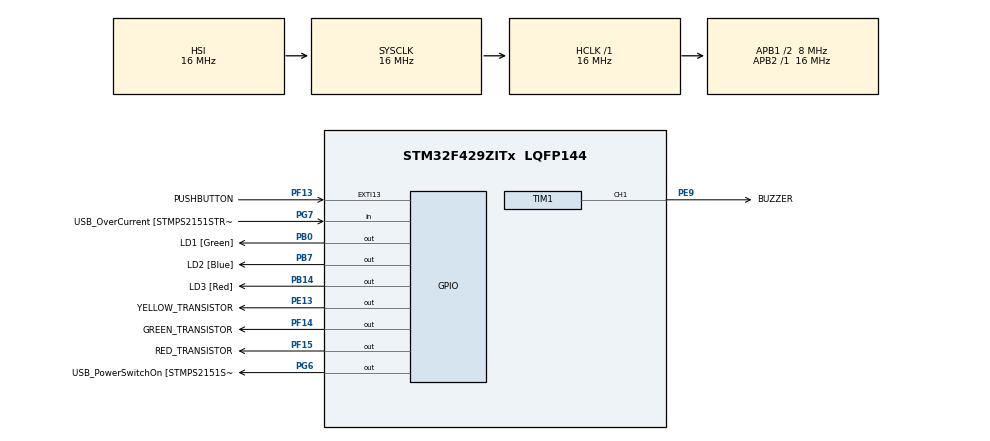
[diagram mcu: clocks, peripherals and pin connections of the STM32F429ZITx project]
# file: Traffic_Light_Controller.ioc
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Mcu.Family=STM32F4
Mcu.Name=STM32F429ZITx
Mcu.Package=LQFP144
NVIC.EXTI15_10_IRQn=true\:2\:0\:true\:false\:true\:true\:true\:true
NVIC.PriorityGroup=NVIC_PRIORITYGROUP_4
PA1.GPIO_Label=RMII_REF_CLK [LAN8742A-CZ-TR_REFCLK0]
PA1.Signal=ETH_REF_CLK
PA10.GPIO_Label=USB_ID
PA10.Signal=USB_OTG_FS_ID
PA11.GPIO_Label=USB_DM
PA11.Signal=USB_OTG_FS_DM
PA12.GPIO_Label=USB_DP
PA12.Signal=USB_OTG_FS_DP
PA13.GPIO_Label=TMS
PA13.Signal=SYS_JTMS-SWDIO
PA14.GPIO_Label=TCK
PA14.Signal=SYS_JTCK-SWCLK
PA2.GPIO_Label=RMII_MDIO [LAN8742A-CZ-TR_MDIO]
PA2.Signal=ETH_MDIO
PA7.GPIO_Label=RMII_CRS_DV [LAN8742A-CZ-TR_CRS_DV]
PA7.Signal=ETH_CRS_DV
PA8.GPIO_Label=USB_SOF [TP1]
PA8.Signal=USB_OTG_FS_SOF
PA9.GPIO_Label=USB_VBUS
PA9.Signal=USB_OTG_FS_VBUS
PB0.GPIO_Label=LD1 [Green]
PB0.Signal=GPIO_Output
PB13.GPIO_Label=RMII_TXD1 [LAN8742A-CZ-TR_TXD1]
PB13.Signal=ETH_TXD1
PB14.GPIO_Label=LD3 [Red]
PB14.Signal=GPIO_Output
PB7.GPIO_Label=LD2 [Blue]
PB7.Signal=GPIO_Output
PC1.GPIO_Label=RMII_MDC [LAN8742A-CZ-TR_MDC]
PC1.Signal=ETH_MDC
PC14/OSC32_IN.Signal=RCC_OSC32_IN
PC15/OSC32_OUT.Signal=RCC_OSC32_OUT
PC4.GPIO_Label=RMII_RXD0 [LAN8742A-CZ-TR_RXD0]
PC4.Signal=ETH_RXD0
PC5.GPIO_Label=RMII_RXD1 [LAN8742A-CZ-TR_RXD1]
PC5.Signal=ETH_RXD1
PD8.GPIO_Label=STLK_RX [STM32F103CBT6_PA3]
PD8.Signal=USART3_TX
PD9.GPIO_Label=STLK_TX [STM32F103CBT6_PA2]
PD9.Signal=USART3_RX
PE13.GPIO_Label=YELLOW_TRANSISTOR
PE13.Signal=GPIO_Output
PE9.GPIO_Label=BUZZER
PE9.Signal=S_TIM1_CH1
PF13.GPIO_Label=PUSHBUTTON
PF13.GPIO_ModeDefaultEXTI=GPIO_MODE_IT_RISING_FALLING
PF13.GPIO_PuPd=GPIO_PULLUP
PF13.Signal=GPXTI13
PF14.GPIO_Label=GREEN_TRANSISTOR
PF14.Signal=GPIO_Output
PF15.GPIO_Label=RED_TRANSISTOR
PF15.Signal=GPIO_Output
PG11.GPIO_Label=RMII_TX_EN [LAN8742A-CZ-TR_TXEN]
PG11.Signal=ETH_TX_EN
PG13.GPIO_Label=RMII_TXD0 [LAN8742A-CZ-TR_TXD0]
PG13.Signal=ETH_TXD0
PG6.GPIO_Label=USB_PowerSwitchOn [STMPS2151STR_EN]
PG6.Signal=GPIO_Output
PG7.GPIO_Label=USB_OverCurrent [STMPS2151STR_FAULT]
PG7.Signal=GPIO_Input
PH0/OSC_IN.GPIO_Label=MCO [STM32F103CBT6_PA8]
PH0/OSC_IN.Signal=RCC_OSC_IN
PH1/OSC_OUT.Signal=RCC_OSC_OUT
ProjectManager.HeapSize=0x200
ProjectManager.StackSize=0x400
ProjectManager.TargetToolchain=STM32CubeIDE
RCC.48MHZClocksFreq_Value=48000000
RCC.AHBFreq_Value=16000000
RCC.APB1CLKDivider=RCC_HCLK_DIV2
RCC.APB1Freq_Value=8000000
RCC.APB1TimFreq_Value=16000000
RCC.APB2Freq_Value=16000000
RCC.APB2TimFreq_Value=16000000
RCC.CortexFreq_Value=16000000
RCC.HCLKFreq_Value=16000000
RCC.HSE_VALUE=8000000
RCC.HSI_VALUE=16000000
RCC.LSE_VALUE=32768
RCC.PLLMUL=RCC_PLL_MUL9
RCC.PRESCALERUSB=RCC_USBCLKSOURCE_PLL_DIV1_5
RCC.SYSCLKFreq_VALUE=16000000
RCC.SYSCLKSourceVirtual=RCC_SYSCLKSOURCE_PLLCLK
RCC.USBFreq_Value=48000000
RCC.VCOOutputFreq_Value=192000000
SH.S_TIM1_CH1.0=TIM1_CH1,PWM Generation1 CH1
TIM1.Channel-PWM\ Generation1\ CH1=TIM_CHANNEL_1
board=NUCLEO-F429ZI

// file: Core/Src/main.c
/* USER CODE BEGIN Header */
/***********************************************************************
 * @file			main.c
 * @brief	 		Embedded Non-Blocking Sequential Light Controller (FSM)
 * @date 			September 2026
 * @author			Crystalizzed
 *
 * @details			Event-driven Finite State Machine (FSM) driving a 3-light
 * 					sequential light loop and dynamic pitch-shifting passive buzzer.
 *
 * @note			Target Hardware: NUCLEO-F429ZI (ARM Cortex-M4 @ 180MHz)
 *
 * @note			Hardware Pinout Configuration (External Breadboard Prototype):
 * 					- PF13 (D7): pushbutton input (EXTI, hardware debounced, internal pull-up)
 * 					- PF15 (D2): red LED transistor (push-pull, active high)
 * 					- PE13 (D3): yellow LED transistor (push-pull, active high)
 * 					- PF14 (D4): green LED transistor (push-pull, active high)
 * 					- PE9  (D6): passive buzzer (TIM1_CH1 PWM alternate function)
 *
 ***********************************************************************
 * @attention
 *
 * Copyright (c) 2026 STMicroelectronics.
 * All rights reserved.
 *
 * This software is licensed under terms that can be found in the LICENSE file
 * in the root directory of this software component.
 * If no LICENSE file comes with this software, it is provided AS-IS.
 *
 ***********************************************************************/
/* USER CODE END Header */
#include "main.h"

TIM_HandleTypeDef htim1;

/* USER CODE BEGIN PV */
// states of light cycle
typedef enum{
	STATE_IDLE,
	STATE_RED,
	STATE_YELLOW,
	STATE_GREEN,
} LightState;

volatile LightState currentState = STATE_IDLE; // tracker for state of the loop
volatile uint32_t stateStartTime=0, buzzerStartTime=0; // time keeping for state and buzzer timing
volatile uint8_t buzzerActive=0; // true/false for if buzzer is active
/* USER CODE END PV */

void SystemClock_Config(void);
static void MX_GPIO_Init(void);
static void MX_TIM1_Init(void);
/* USER CODE BEGIN PFP */
void BuzzerActivation(LightState currentState);
/* USER CODE END PFP */

int main(void)
{

  /* MCU Configuration--------------------------------------------------------*/

  /* Reset of all peripherals, Initializes the Flash interface and the Systick. */
  HAL_Init();

  /* Configure the system clock */
  SystemClock_Config();

  /* Initialize all configured peripherals */
  MX_GPIO_Init();
  MX_TIM1_Init();

  /* Infinite loop */
  /* USER CODE BEGIN WHILE */
  while (1){

	  // loop for changing light states
	if(currentState>STATE_IDLE){
		switch(currentState){
			case STATE_RED:
				// turn on red LED
				HAL_GPIO_WritePin(RED_TRANSISTOR_GPIO_Port, RED_TRANSISTOR_Pin, GPIO_PIN_SET);

				// check if 3 seconds have elapsed, if so update state and turn off red LED
				if(HAL_GetTick() - stateStartTime >= 3000){
					HAL_GPIO_WritePin(RED_TRANSISTOR_GPIO_Port, RED_TRANSISTOR_Pin, GPIO_PIN_RESET);
					currentState = STATE_YELLOW;
					stateStartTime = HAL_GetTick();
					BuzzerActivation(currentState); // call buzzer activation subroutine
				}
				break;

			case STATE_YELLOW:
				// turn on yellow LED
				HAL_GPIO_WritePin(YELLOW_TRANSISTOR_GPIO_Port, YELLOW_TRANSISTOR_Pin, GPIO_PIN_SET);

				// check if 3 seconds have elapsed, if so update state and turn off yellow LED
				if(HAL_GetTick() - stateStartTime >= 3000){
					HAL_GPIO_WritePin(YELLOW_TRANSISTOR_GPIO_Port, YELLOW_TRANSISTOR_Pin, GPIO_PIN_RESET);
					currentState = STATE_GREEN;
					stateStartTime = HAL_GetTick();
					BuzzerActivation(currentState); // call buzzer activation subroutine
				}
				break;

			case STATE_GREEN:
				// activate green LED and hold indefinitely, until pushbutton is ever released
				HAL_GPIO_WritePin(GREEN_TRANSISTOR_GPIO_Port, GREEN_TRANSISTOR_Pin, GPIO_PIN_SET);
				break;

			case STATE_IDLE: // unreachable at runtime
				break;

		} // switch(currentState)

		// restrict buzzer length to 1 second
		if(buzzerActive==1){
			// check if 1 second has elapsed, and if so turn off buzzer and update state
			if(HAL_GetTick() - buzzerStartTime >= 1000){
				HAL_TIM_PWM_Stop(&htim1, TIM_CHANNEL_1);
				buzzerActive = 0;
			}
		} // if(buzzerActive)
	} // if(currentState>STATE_IDLE)

    /* USER CODE END WHILE */

  }
}

void SystemClock_Config(void)
{
  RCC_OscInitTypeDef RCC_OscInitStruct = {0};
  RCC_ClkInitTypeDef RCC_ClkInitStruct = {0};

  /** Configure the main internal regulator output voltage
  */
  __HAL_RCC_PWR_CLK_ENABLE();
  __HAL_PWR_VOLTAGESCALING_CONFIG(PWR_REGULATOR_VOLTAGE_SCALE3);

  /** Initializes the RCC Oscillators according to the specified parameters
  * in the RCC_OscInitTypeDef structure.
  */
  RCC_OscInitStruct.OscillatorType = RCC_OSCILLATORTYPE_HSI;
  RCC_OscInitStruct.HSIState = RCC_HSI_ON;
  RCC_OscInitStruct.HSICalibrationValue = RCC_HSICALIBRATION_DEFAULT;
  RCC_OscInitStruct.PLL.PLLState = RCC_PLL_NONE;
  if (HAL_RCC_OscConfig(&RCC_OscInitStruct) != HAL_OK)
  {
    Error_Handler();
  }

  /** Initializes the CPU, AHB and APB buses clocks
  */
  RCC_ClkInitStruct.ClockType = RCC_CLOCKTYPE_HCLK|RCC_CLOCKTYPE_SYSCLK
                              |RCC_CLOCKTYPE_PCLK1|RCC_CLOCKTYPE_PCLK2;
  RCC_ClkInitStruct.SYSCLKSource = RCC_SYSCLKSOURCE_HSI;
  RCC_ClkInitStruct.AHBCLKDivider = RCC_SYSCLK_DIV1;
  RCC_ClkInitStruct.APB1CLKDivider = RCC_HCLK_DIV2;
  RCC_ClkInitStruct.APB2CLKDivider = RCC_HCLK_DIV1;

  if (HAL_RCC_ClockConfig(&RCC_ClkInitStruct, FLASH_LATENCY_0) != HAL_OK)
  {
    Error_Handler();
  }
}

static void MX_TIM1_Init(void)
{

  TIM_MasterConfigTypeDef sMasterConfig = {0};
  TIM_OC_InitTypeDef sConfigOC = {0};
  TIM_BreakDeadTimeConfigTypeDef sBreakDeadTimeConfig = {0};

  htim1.Instance = TIM1;
  htim1.Init.Prescaler = 0;
  htim1.Init.CounterMode = TIM_COUNTERMODE_UP;
  htim1.Init.Period = 65535;
  htim1.Init.ClockDivision = TIM_CLOCKDIVISION_DIV1;
  htim1.Init.RepetitionCounter = 0;
  htim1.Init.AutoReloadPreload = TIM_AUTORELOAD_PRELOAD_DISABLE;
  if (HAL_TIM_PWM_Init(&htim1) != HAL_OK)
  {
    Error_Handler();
  }
  sMasterConfig.MasterOutputTrigger = TIM_TRGO_RESET;
  sMasterConfig.MasterSlaveMode = TIM_MASTERSLAVEMODE_DISABLE;
  if (HAL_TIMEx_MasterConfigSynchronization(&htim1, &sMasterConfig) != HAL_OK)
  {
    Error_Handler();
  }
  sConfigOC.OCMode = TIM_OCMODE_PWM1;
  sConfigOC.Pulse = 0;
  sConfigOC.OCPolarity = TIM_OCPOLARITY_HIGH;
  sConfigOC.OCNPolarity = TIM_OCNPOLARITY_HIGH;
  sConfigOC.OCFastMode = TIM_OCFAST_DISABLE;
  sConfigOC.OCIdleState = TIM_OCIDLESTATE_RESET;
  sConfigOC.OCNIdleState = TIM_OCNIDLESTATE_RESET;
  if (HAL_TIM_PWM_ConfigChannel(&htim1, &sConfigOC, TIM_CHANNEL_1) != HAL_OK)
  {
    Error_Handler();
  }
  sBreakDeadTimeConfig.OffStateRunMode = TIM_OSSR_DISABLE;
  sBreakDeadTimeConfig.OffStateIDLEMode = TIM_OSSI_DISABLE;
  sBreakDeadTimeConfig.LockLevel = TIM_LOCKLEVEL_OFF;
  sBreakDeadTimeConfig.DeadTime = 0;
  sBreakDeadTimeConfig.BreakState = TIM_BREAK_DISABLE;
  sBreakDeadTimeConfig.BreakPolarity = TIM_BREAKPOLARITY_HIGH;
  sBreakDeadTimeConfig.AutomaticOutput = TIM_AUTOMATICOUTPUT_DISABLE;
  if (HAL_TIMEx_ConfigBreakDeadTime(&htim1, &sBreakDeadTimeConfig) != HAL_OK)
  {
    Error_Handler();
  }
  HAL_TIM_MspPostInit(&htim1);

}

static void MX_GPIO_Init(void)
{
  GPIO_InitTypeDef GPIO_InitStruct = {0};

  /* GPIO Ports Clock Enable */
  __HAL_RCC_GPIOC_CLK_ENABLE();
  __HAL_RCC_GPIOH_CLK_ENABLE();
  __HAL_RCC_GPIOA_CLK_ENABLE();
  __HAL_RCC_GPIOB_CLK_ENABLE();
  __HAL_RCC_GPIOF_CLK_ENABLE();
  __HAL_RCC_GPIOE_CLK_ENABLE();
  __HAL_RCC_GPIOD_CLK_ENABLE();
  __HAL_RCC_GPIOG_CLK_ENABLE();

  /*Configure GPIO pin Output Level */
  HAL_GPIO_WritePin(GPIOB, LD1_Pin|LD3_Pin|LD2_Pin, GPIO_PIN_RESET);

  /*Configure GPIO pin Output Level */
  HAL_GPIO_WritePin(GPIOF, GREEN_TRANSISTOR_Pin|RED_TRANSISTOR_Pin, GPIO_PIN_RESET);

  /*Configure GPIO pin Output Level */
  HAL_GPIO_WritePin(YELLOW_TRANSISTOR_GPIO_Port, YELLOW_TRANSISTOR_Pin, GPIO_PIN_RESET);

  /*Configure GPIO pin Output Level */
  HAL_GPIO_WritePin(USB_PowerSwitchOn_GPIO_Port, USB_PowerSwitchOn_Pin, GPIO_PIN_RESET);

  /*Configure GPIO pins : RMII_MDC_Pin RMII_RXD0_Pin RMII_RXD1_Pin */
  GPIO_InitStruct.Pin = RMII_MDC_Pin|RMII_RXD0_Pin|RMII_RXD1_Pin;
  GPIO_InitStruct.Mode = GPIO_MODE_AF_PP;
  GPIO_InitStruct.Pull = GPIO_NOPULL;
  GPIO_InitStruct.Speed = GPIO_SPEED_FREQ_VERY_HIGH;
  GPIO_InitStruct.Alternate = GPIO_AF11_ETH;
  HAL_GPIO_Init(GPIOC, &GPIO_InitStruct);

  /*Configure GPIO pins : RMII_REF_CLK_Pin RMII_MDIO_Pin RMII_CRS_DV_Pin */
  GPIO_InitStruct.Pin = RMII_REF_CLK_Pin|RMII_MDIO_Pin|RMII_CRS_DV_Pin;
  GPIO_InitStruct.Mode = GPIO_MODE_AF_PP;
  GPIO_InitStruct.Pull = GPIO_NOPULL;
  GPIO_InitStruct.Speed = GPIO_SPEED_FREQ_VERY_HIGH;
  GPIO_InitStruct.Alternate = GPIO_AF11_ETH;
  HAL_GPIO_Init(GPIOA, &GPIO_InitStruct);

  /*Configure GPIO pins : LD1_Pin LD3_Pin LD2_Pin */
  GPIO_InitStruct.Pin = LD1_Pin|LD3_Pin|LD2_Pin;
  GPIO_InitStruct.Mode = GPIO_MODE_OUTPUT_PP;
  GPIO_InitStruct.Pull = GPIO_NOPULL;
  GPIO_InitStruct.Speed = GPIO_SPEED_FREQ_LOW;
  HAL_GPIO_Init(GPIOB, &GPIO_InitStruct);

  /*Configure GPIO pin : PUSHBUTTON_Pin */
  GPIO_InitStruct.Pin = PUSHBUTTON_Pin;
  GPIO_InitStruct.Mode = GPIO_MODE_IT_RISING_FALLING;
  GPIO_InitStruct.Pull = GPIO_PULLUP;
  HAL_GPIO_Init(PUSHBUTTON_GPIO_Port, &GPIO_InitStruct);

  /*Configure GPIO pins : GREEN_TRANSISTOR_Pin RED_TRANSISTOR_Pin */
  GPIO_InitStruct.Pin = GREEN_TRANSISTOR_Pin|RED_TRANSISTOR_Pin;
  GPIO_InitStruct.Mode = GPIO_MODE_OUTPUT_PP;
  GPIO_InitStruct.Pull = GPIO_NOPULL;
  GPIO_InitStruct.Speed = GPIO_SPEED_FREQ_LOW;
  HAL_GPIO_Init(GPIOF, &GPIO_InitStruct);

  /*Configure GPIO pin : YELLOW_TRANSISTOR_Pin */
  GPIO_InitStruct.Pin = YELLOW_TRANSISTOR_Pin;
  GPIO_InitStruct.Mode = GPIO_MODE_OUTPUT_PP;
  GPIO_InitStruct.Pull = GPIO_NOPULL;
  GPIO_InitStruct.Speed = GPIO_SPEED_FREQ_LOW;
  HAL_GPIO_Init(YELLOW_TRANSISTOR_GPIO_Port, &GPIO_InitStruct);

  /*Configure GPIO pin : RMII_TXD1_Pin */
  GPIO_InitStruct.Pin = RMII_TXD1_Pin;
  GPIO_InitStruct.Mode = GPIO_MODE_AF_PP;
  GPIO_InitStruct.Pull = GPIO_NOPULL;
  GPIO_InitStruct.Speed = GPIO_SPEED_FREQ_VERY_HIGH;
  GPIO_InitStruct.Alternate = GPIO_AF11_ETH;
  HAL_GPIO_Init(RMII_TXD1_GPIO_Port, &GPIO_InitStruct);

  /*Configure GPIO pins : STLK_RX_Pin STLK_TX_Pin */
  GPIO_InitStruct.Pin = STLK_RX_Pin|STLK_TX_Pin;
  GPIO_InitStruct.Mode = GPIO_MODE_AF_PP;
  GPIO_InitStruct.Pull = GPIO_NOPULL;
  GPIO_InitStruct.Speed = GPIO_SPEED_FREQ_VERY_HIGH;
  GPIO_InitStruct.Alternate = GPIO_AF7_USART3;
  HAL_GPIO_Init(GPIOD, &GPIO_InitStruct);

  /*Configure GPIO pin : USB_PowerSwitchOn_Pin */
  GPIO_InitStruct.Pin = USB_PowerSwitchOn_Pin;
  GPIO_InitStruct.Mode = GPIO_MODE_OUTPUT_PP;
  GPIO_InitStruct.Pull = GPIO_NOPULL;
  GPIO_InitStruct.Speed = GPIO_SPEED_FREQ_LOW;
  HAL_GPIO_Init(USB_PowerSwitchOn_GPIO_Port, &GPIO_InitStruct);

  /*Configure GPIO pin : USB_OverCurrent_Pin */
  GPIO_InitStruct.Pin = USB_OverCurrent_Pin;
  GPIO_InitStruct.Mode = GPIO_MODE_INPUT;
  GPIO_InitStruct.Pull = GPIO_NOPULL;
  HAL_GPIO_Init(USB_OverCurrent_GPIO_Port, &GPIO_InitStruct);

  /*Configure GPIO pins : USB_SOF_Pin USB_ID_Pin USB_DM_Pin USB_DP_Pin */
  GPIO_InitStruct.Pin = USB_SOF_Pin|USB_ID_Pin|USB_DM_Pin|USB_DP_Pin;
  GPIO_InitStruct.Mode = GPIO_MODE_AF_PP;
  GPIO_InitStruct.Pull = GPIO_NOPULL;
  GPIO_InitStruct.Speed = GPIO_SPEED_FREQ_VERY_HIGH;
  GPIO_InitStruct.Alternate = GPIO_AF10_OTG_FS;
  HAL_GPIO_Init(GPIOA, &GPIO_InitStruct);

  /*Configure GPIO pin : USB_VBUS_Pin */
  GPIO_InitStruct.Pin = USB_VBUS_Pin;
  GPIO_InitStruct.Mode = GPIO_MODE_INPUT;
  GPIO_InitStruct.Pull = GPIO_NOPULL;
  HAL_GPIO_Init(USB_VBUS_GPIO_Port, &GPIO_InitStruct);

  /*Configure GPIO pins : RMII_TX_EN_Pin RMII_TXD0_Pin */
  GPIO_InitStruct.Pin = RMII_TX_EN_Pin|RMII_TXD0_Pin;
  GPIO_InitStruct.Mode = GPIO_MODE_AF_PP;
  GPIO_InitStruct.Pull = GPIO_NOPULL;
  GPIO_InitStruct.Speed = GPIO_SPEED_FREQ_VERY_HIGH;
  GPIO_InitStruct.Alternate = GPIO_AF11_ETH;
  HAL_GPIO_Init(GPIOG, &GPIO_InitStruct);

  /* EXTI interrupt init*/
  HAL_NVIC_SetPriority(EXTI15_10_IRQn, 2, 0);
  HAL_NVIC_EnableIRQ(EXTI15_10_IRQn);

}

/* USER CODE BEGIN 4 */
/***********************************************************************
 * @brief		Configures PWM frequency and starts piezobuzzer output.
 *
 * @details		Calculates timer autoreload (ARR) value based on current
 * 				FSM light state, updates TIM1 Channel 1 ARR and CCR registers for
 * 				a 50% duty cycle, and activates PWM generation.
 *
 * @param[in]	currentState light state used to compute target pitch frequency.
 *
 * @retval		None
 *
 * @note		- Called from both HAL_GPIO_EXTI_Callback (ISR) and the main loop (state
 * 				  transition logic). Must remain non-blocking and interrupt-safe - no
 * 				  HAL_Delay() or heavy computation. Relies on main loop execution to
 * 				  evaluate buzzerStartTime against target duration.
 * 				- Hardware touched: TIM1 CH1 (PWM output, MOE enabled)
 * 				- Globals modified: buzzerStartTime (timestamp), buzzerActive (set to 1)
 ***********************************************************************/
void BuzzerActivation(LightState currentState){

	// calculate frequency pitch for buzzer depending on currentState
	// base period of 250 ticks + 250*state
	uint32_t buzzerFreq = (16000000/(250+(250*(uint32_t)currentState)))-1;
	__HAL_TIM_SET_AUTORELOAD(&htim1, buzzerFreq);

	// duty cycle config
	__HAL_TIM_SET_COMPARE(&htim1, TIM_CHANNEL_1, (buzzerFreq/2));

	// turn buzzer on
	HAL_TIM_PWM_Start(&htim1, TIM_CHANNEL_1);
	__HAL_TIM_MOE_ENABLE(&htim1);

	buzzerStartTime = HAL_GetTick();
	buzzerActive = 1;

}	// BuzzerActivation

/***********************************************************************
 * @brief		Interrupt based on state of external breadboard pushbutton state.
 *
 * @details		Evaluates pushbutton state transitions (press/release). If released,
 * 				resets all LED outputs, turns off the piezobuzzer, and forces the FSM
 * 				back to STATE_IDLE. If pressed while in STATE_IDLE, advances the FSM
 * 				to STATE_RED, records stateStartTime, and triggers the buzzer
 * 				pitch sequence.
 *
 * @param[in]	GPIO_Pin Pin mask identifying which EXTI line triggered the input.
 *
 * @retval		None
 *
 * @note		- Execution: ISR (Interrupt Service Routine) context via EXTI line.
 * 				- Keep Execution Short: Avoid adding blocking delays (e.g. HAL_Delay())
 * 				  or heavy computations within this handler.
 * 				- Hardware modified: PUSHBUTTON (PF13), RED_TRANSISTOR (PF15),
 * 				  YELLOW_TRANSISTOR (PE13), GREEN_TRANSISTOR (PF14), TIM1 CH1 PWM (PE9)
 * 				- Relies on main loop execution to evaluate buzzerStartTime against
 * 				  target duration.
 * 				- Globals modified: currentState, stateStartTime,
 * 				  buzzerStartTime (BuzzerActivation()), buzzerActive (BuzzerActivation())
 ***********************************************************************/
void HAL_GPIO_EXTI_Callback(uint16_t GPIO_Pin){

	// check if the pin matches the pushbutton pin
	if(GPIO_Pin == PUSHBUTTON_Pin){

		// if pushbutton is NOT pressed
		if(HAL_GPIO_ReadPin(PUSHBUTTON_GPIO_Port, PUSHBUTTON_Pin)==GPIO_PIN_SET){
			HAL_GPIO_WritePin(RED_TRANSISTOR_GPIO_Port, RED_TRANSISTOR_Pin, GPIO_PIN_RESET); 		// reset red LED
			HAL_GPIO_WritePin(YELLOW_TRANSISTOR_GPIO_Port, YELLOW_TRANSISTOR_Pin, GPIO_PIN_RESET);	// reset yellow LED
			HAL_GPIO_WritePin(GREEN_TRANSISTOR_GPIO_Port, GREEN_TRANSISTOR_Pin, GPIO_PIN_RESET);	// reset green LED
			HAL_TIM_PWM_Stop(&htim1, TIM_CHANNEL_1); 	// turn buzzer off
			currentState = STATE_IDLE;					// reset state
		}
		// otherwise pushbutton IS pressed, and advance to first state
		else{
			if(currentState == STATE_IDLE){
				currentState = STATE_RED;		// advance the state identifier to RED
				stateStartTime = HAL_GetTick(); // get current start time for main function while(1) loop
				BuzzerActivation(currentState); // call buzzer activation subroutine
			}
		}
	}
}	// HAL_GPIO_EXTI_Callback
/* USER CODE END 4 */

void Error_Handler(void)
{
  __disable_irq();
  while (1)
  {
  }
}
